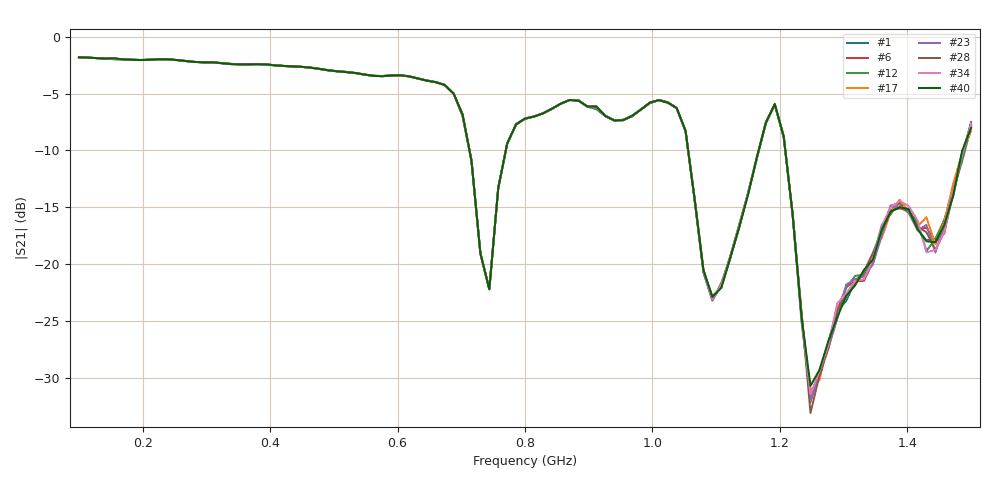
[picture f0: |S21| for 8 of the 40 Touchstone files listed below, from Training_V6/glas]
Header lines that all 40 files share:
! NanoVNA-App
! Start: 100MHz Stop: 1,5GHz Points: 101
! S-Parameter data: F S11 S21 S12 S22
# Hz S RI R 50
!  Frequency  S11_Real  S11_Imag  S21_Real  S21_Imag  S12_Real  S12_Imag  S22_Real  S22_Imag
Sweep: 100 MHz to 1.5 GHz
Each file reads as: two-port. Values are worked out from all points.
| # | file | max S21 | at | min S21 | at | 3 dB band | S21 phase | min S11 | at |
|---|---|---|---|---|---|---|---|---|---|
| 1 | glas (641).s2p | -1.80 dB | 100 MHz | -31.5 dB | 1.248 GHz | 100 MHz-674 MHz | 90 deg at 800 MHz | -41.7 dB | 492 MHz |
| 2 | glas (642).s2p | -1.80 dB | 100 MHz | -32.8 dB | 1.248 GHz | 100 MHz-674 MHz | 90 deg at 800 MHz | -41.9 dB | 492 MHz |
| 3 | glas (643).s2p | -1.80 dB | 100 MHz | -31.5 dB | 1.248 GHz | 100 MHz-674 MHz | 90 deg at 800 MHz | -41.6 dB | 492 MHz |
| 4 | glas (644).s2p | -1.80 dB | 100 MHz | -32.4 dB | 1.248 GHz | 100 MHz-674 MHz | 90 deg at 800 MHz | -41.9 dB | 492 MHz |
| 5 | glas (645).s2p | -1.80 dB | 100 MHz | -31.8 dB | 1.248 GHz | 100 MHz-674 MHz | 90 deg at 800 MHz | -41.9 dB | 492 MHz |
| 6 | glas (646).s2p | -1.80 dB | 100 MHz | -32.1 dB | 1.248 GHz | 100 MHz-674 MHz | 90 deg at 800 MHz | -42.0 dB | 492 MHz |
| 7 | glas (647).s2p | -1.80 dB | 100 MHz | -32.5 dB | 1.248 GHz | 100 MHz-674 MHz | 90 deg at 800 MHz | -41.6 dB | 492 MHz |
| 8 | glas (648).s2p | -1.80 dB | 100 MHz | -31.6 dB | 1.262 GHz | 100 MHz-674 MHz | 90 deg at 800 MHz | -41.5 dB | 492 MHz |
| 9 | glas (649).s2p | -1.80 dB | 100 MHz | -31.5 dB | 1.248 GHz | 100 MHz-674 MHz | 90 deg at 800 MHz | -41.8 dB | 492 MHz |
| 10 | glas (650).s2p | -1.80 dB | 100 MHz | -30.9 dB | 1.248 GHz | 100 MHz-674 MHz | 90 deg at 800 MHz | -41.9 dB | 492 MHz |
| 11 | glas (651).s2p | -1.80 dB | 100 MHz | -31.2 dB | 1.248 GHz | 100 MHz-674 MHz | 90 deg at 800 MHz | -41.7 dB | 492 MHz |
| 12 | glas (652).s2p | -1.80 dB | 100 MHz | -31.9 dB | 1.248 GHz | 100 MHz-674 MHz | 90 deg at 800 MHz | -41.4 dB | 492 MHz |
| 13 | glas (653).s2p | -1.80 dB | 100 MHz | -31.1 dB | 1.248 GHz | 100 MHz-674 MHz | 90 deg at 800 MHz | -42.0 dB | 492 MHz |
| 14 | glas (654).s2p | -1.80 dB | 100 MHz | -33.0 dB | 1.248 GHz | 100 MHz-674 MHz | 90 deg at 800 MHz | -42.1 dB | 492 MHz |
| 15 | glas (655).s2p | -1.80 dB | 100 MHz | -31.7 dB | 1.248 GHz | 100 MHz-674 MHz | 90 deg at 800 MHz | -41.8 dB | 492 MHz |
| 16 | glas (656).s2p | -1.80 dB | 100 MHz | -33.6 dB | 1.248 GHz | 100 MHz-674 MHz | 90 deg at 800 MHz | -41.6 dB | 492 MHz |
| 17 | glas (657).s2p | -1.80 dB | 100 MHz | -31.1 dB | 1.248 GHz | 100 MHz-674 MHz | 90 deg at 800 MHz | -41.7 dB | 492 MHz |
| 18 | glas (658).s2p | -1.80 dB | 100 MHz | -31.6 dB | 1.248 GHz | 100 MHz-674 MHz | 90 deg at 800 MHz | -41.9 dB | 492 MHz |
| 19 | glas (659).s2p | -1.80 dB | 100 MHz | -32.2 dB | 1.248 GHz | 100 MHz-674 MHz | 90 deg at 800 MHz | -41.9 dB | 492 MHz |
| 20 | glas (660).s2p | -1.80 dB | 100 MHz | -31.7 dB | 1.248 GHz | 100 MHz-674 MHz | 90 deg at 800 MHz | -41.5 dB | 492 MHz |
| 21 | glas (661).s2p | -1.80 dB | 100 MHz | -32.8 dB | 1.248 GHz | 100 MHz-674 MHz | 90 deg at 800 MHz | -41.6 dB | 492 MHz |
| 22 | glas (662).s2p | -1.80 dB | 100 MHz | -34.5 dB | 1.248 GHz | 100 MHz-674 MHz | 90 deg at 800 MHz | -41.9 dB | 492 MHz |
| 23 | glas (663).s2p | -1.80 dB | 100 MHz | -32.0 dB | 1.248 GHz | 100 MHz-674 MHz | 90 deg at 800 MHz | -42.0 dB | 492 MHz |
| 24 | glas (664).s2p | -1.80 dB | 100 MHz | -32.6 dB | 1.248 GHz | 100 MHz-674 MHz | 90 deg at 800 MHz | -41.5 dB | 492 MHz |
| 25 | glas (665).s2p | -1.80 dB | 100 MHz | -31.4 dB | 1.248 GHz | 100 MHz-674 MHz | 90 deg at 800 MHz | -42.0 dB | 492 MHz |
| 26 | glas (666).s2p | -1.80 dB | 100 MHz | -31.2 dB | 1.262 GHz | 100 MHz-674 MHz | 90 deg at 800 MHz | -41.8 dB | 492 MHz |
| 27 | glas (667).s2p | -1.80 dB | 100 MHz | -31.4 dB | 1.248 GHz | 100 MHz-674 MHz | 90 deg at 800 MHz | -41.7 dB | 492 MHz |
| 28 | glas (668).s2p | -1.80 dB | 100 MHz | -33.1 dB | 1.248 GHz | 100 MHz-674 MHz | 90 deg at 800 MHz | -41.6 dB | 492 MHz |
| 29 | glas (669).s2p | -1.80 dB | 100 MHz | -31.6 dB | 1.248 GHz | 100 MHz-674 MHz | 90 deg at 800 MHz | -42.0 dB | 492 MHz |
| 30 | glas (670).s2p | -1.80 dB | 100 MHz | -30.6 dB | 1.262 GHz | 100 MHz-674 MHz | 90 deg at 800 MHz | -42.0 dB | 492 MHz |
| 31 | glas (671).s2p | -1.80 dB | 100 MHz | -33.3 dB | 1.248 GHz | 100 MHz-674 MHz | 90 deg at 800 MHz | -42.1 dB | 492 MHz |
| 32 | glas (672).s2p | -1.80 dB | 100 MHz | -32.2 dB | 1.248 GHz | 100 MHz-674 MHz | 90 deg at 800 MHz | -41.8 dB | 492 MHz |
| 33 | glas (673).s2p | -1.80 dB | 100 MHz | -31.8 dB | 1.248 GHz | 100 MHz-674 MHz | 90 deg at 800 MHz | -42.0 dB | 492 MHz |
| 34 | glas (674).s2p | -1.80 dB | 100 MHz | -31.4 dB | 1.248 GHz | 100 MHz-674 MHz | 90 deg at 800 MHz | -41.9 dB | 492 MHz |
| 35 | glas (675).s2p | -1.80 dB | 100 MHz | -30.1 dB | 1.248 GHz | 100 MHz-674 MHz | 90 deg at 800 MHz | -42.0 dB | 492 MHz |
| 36 | glas (676).s2p | -1.80 dB | 100 MHz | -30.9 dB | 1.248 GHz | 100 MHz-674 MHz | 90 deg at 800 MHz | -41.5 dB | 492 MHz |
| 37 | glas (677).s2p | -1.80 dB | 100 MHz | -31.5 dB | 1.248 GHz | 100 MHz-674 MHz | 90 deg at 800 MHz | -41.9 dB | 492 MHz |
| 38 | glas (678).s2p | -1.80 dB | 100 MHz | -32.6 dB | 1.248 GHz | 100 MHz-674 MHz | 90 deg at 800 MHz | -41.6 dB | 492 MHz |
| 39 | glas (679).s2p | -1.80 dB | 100 MHz | -31.3 dB | 1.248 GHz | 100 MHz-674 MHz | 90 deg at 800 MHz | -42.0 dB | 492 MHz |
| 40 | glas (680).s2p | -1.80 dB | 100 MHz | -30.7 dB | 1.248 GHz | 100 MHz-674 MHz | 90 deg at 800 MHz | -41.5 dB | 492 MHz |
